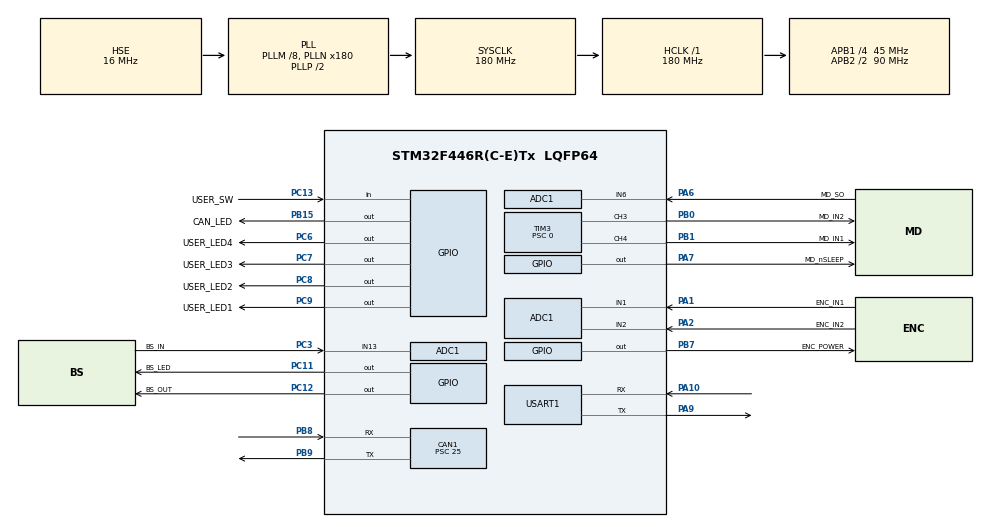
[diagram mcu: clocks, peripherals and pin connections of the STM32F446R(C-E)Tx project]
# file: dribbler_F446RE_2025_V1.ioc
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ADC1.Channel-0\#ChannelRegularConversion=ADC_CHANNEL_1
ADC1.Channel-1\#ChannelRegularConversion=ADC_CHANNEL_2
ADC1.Channel-2\#ChannelRegularConversion=ADC_CHANNEL_6
ADC1.Channel-3\#ChannelRegularConversion=ADC_CHANNEL_13
ADC1.ContinuousConvMode=ENABLE
ADC1.DMAContinuousRequests=ENABLE
ADC1.NbrOfConversion=4
ADC1.NbrOfConversionFlag=1
ADC1.Rank-0\#ChannelRegularConversion=1
ADC1.Rank-1\#ChannelRegularConversion=2
ADC1.Rank-2\#ChannelRegularConversion=3
ADC1.Rank-3\#ChannelRegularConversion=4
ADC1.SamplingTime-0\#ChannelRegularConversion=ADC_SAMPLETIME_112CYCLES
ADC1.SamplingTime-1\#ChannelRegularConversion=ADC_SAMPLETIME_112CYCLES
ADC1.SamplingTime-2\#ChannelRegularConversion=ADC_SAMPLETIME_112CYCLES
ADC1.SamplingTime-3\#ChannelRegularConversion=ADC_SAMPLETIME_112CYCLES
ADC1.ScanConvMode=ENABLE
ADC1.master=1
CAN1.BS1=CAN_BS1_15TQ
CAN1.BS2=CAN_BS2_2TQ
CAN1.CalculateBaudRate=100000
CAN1.CalculateTimeBit=10000
CAN1.CalculateTimeQuantum=555.5555555555555
CAN1.Prescaler=25
CAN1.TTCM=ENABLE
CAN1.TXFP=ENABLE
Dma.ADC1.0.Direction=DMA_PERIPH_TO_MEMORY
Dma.ADC1.0.FIFOMode=DMA_FIFOMODE_DISABLE
Dma.ADC1.0.Instance=DMA2_Stream0
Dma.ADC1.0.MemDataAlignment=DMA_MDATAALIGN_HALFWORD
Dma.ADC1.0.MemInc=DMA_MINC_ENABLE
Dma.ADC1.0.Mode=DMA_CIRCULAR
Dma.ADC1.0.PeriphDataAlignment=DMA_PDATAALIGN_HALFWORD
Dma.ADC1.0.PeriphInc=DMA_PINC_DISABLE
Dma.ADC1.0.Priority=DMA_PRIORITY_LOW
Dma.Request0=ADC1
Mcu.Family=STM32F4
Mcu.Name=STM32F446R(C-E)Tx
Mcu.Package=LQFP64
NVIC.CAN1_RX0_IRQn=true\:0\:0\:false\:false\:true\:true\:true\:true
NVIC.CAN1_RX1_IRQn=true\:0\:0\:false\:false\:true\:true\:true\:true
NVIC.CAN1_TX_IRQn=true\:0\:0\:false\:false\:true\:true\:true\:true
NVIC.DMA2_Stream0_IRQn=true\:0\:0\:false\:false\:true\:false\:true\:true
NVIC.PriorityGroup=NVIC_PRIORITYGROUP_4
NVIC.TIM6_DAC_IRQn=true\:0\:0\:false\:false\:true\:true\:true\:true
NVIC.TIM7_IRQn=true\:0\:0\:false\:false\:true\:true\:true\:true
PA1.GPIO_Label=ENC_IN1
PA1.Signal=ADCx_IN1
PA10.Mode=Asynchronous
PA10.Signal=USART1_RX
PA2.GPIO_Label=ENC_IN2
PA2.Signal=ADCx_IN2
PA6.GPIO_Label=MD_SO
PA6.Signal=ADCx_IN6
PA7.GPIO_Label=MD_nSLEEP
PA7.Signal=GPIO_Output
PA9.Mode=Asynchronous
PA9.Signal=USART1_TX
PB0.GPIO_Label=MD_IN2
PB0.Signal=S_TIM3_CH3
PB1.GPIO_Label=MD_IN1
PB1.Signal=S_TIM3_CH4
PB15.GPIO_Label=CAN_LED
PB15.Signal=GPIO_Output
PB7.GPIO_Label=ENC_POWER
PB7.Signal=GPIO_Output
PB8.Mode=CAN_Activate
PB8.Signal=CAN1_RX
PB9.Mode=CAN_Activate
PB9.Signal=CAN1_TX
PC11.GPIO_Label=BS_LED
PC11.Signal=GPIO_Output
PC12.GPIO_Label=BS_OUT
PC12.Signal=GPIO_Output
PC13.GPIO_Label=USER_SW
PC13.Signal=GPIO_Input
PC3.GPIO_Label=BS_IN
PC3.Signal=ADCx_IN13
PC6.GPIO_Label=USER_LED4
PC6.Signal=GPIO_Output
PC7.GPIO_Label=USER_LED3
PC7.Signal=GPIO_Output
PC8.GPIO_Label=USER_LED2
PC8.Signal=GPIO_Output
PC9.GPIO_Label=USER_LED1
PC9.Signal=GPIO_Output
PH0-OSC_IN.Mode=HSE-External-Oscillator
PH0-OSC_IN.Signal=RCC_OSC_IN
PH1-OSC_OUT.Mode=HSE-External-Oscillator
PH1-OSC_OUT.Signal=RCC_OSC_OUT
ProjectManager.HeapSize=0x200
ProjectManager.StackSize=0x400
ProjectManager.TargetToolchain=Makefile
RCC.AHBFreq_Value=180000000
RCC.APB1CLKDivider=RCC_HCLK_DIV4
RCC.APB1Freq_Value=45000000
RCC.APB1TimFreq_Value=90000000
RCC.APB2CLKDivider=RCC_HCLK_DIV2
RCC.APB2Freq_Value=90000000
RCC.APB2TimFreq_Value=180000000
RCC.CortexFreq_Value=180000000
RCC.HCLKFreq_Value=180000000
RCC.HSE_VALUE=16000000
RCC.PLLM=8
RCC.PLLN=180
RCC.PLLSourceVirtual=RCC_PLLSOURCE_HSE
RCC.SYSCLKFreq_VALUE=180000000
RCC.SYSCLKSource=RCC_SYSCLKSOURCE_PLLCLK
RCC.USBFreq_Value=180000000
RCC.VCOOutputFreq_Value=360000000
SH.ADCx_IN1.0=ADC1_IN1,IN1
SH.ADCx_IN13.0=ADC1_IN13,IN13
SH.ADCx_IN2.0=ADC1_IN2,IN2
SH.ADCx_IN6.0=ADC1_IN6,IN6
SH.S_TIM3_CH3.0=TIM3_CH3,PWM Generation3 CH3
SH.S_TIM3_CH4.0=TIM3_CH4,PWM Generation4 CH4
TIM3.Channel-PWM\ Generation3\ CH3=TIM_CHANNEL_3
TIM3.Channel-PWM\ Generation4\ CH4=TIM_CHANNEL_4
TIM3.OCFastMode_PWM-PWM\ Generation3\ CH3=TIM_OCFAST_ENABLE
TIM3.OCFastMode_PWM-PWM\ Generation4\ CH4=TIM_OCFAST_ENABLE
TIM3.Period=799
TIM3.Prescaler=0
TIM6.AutoReloadPreload=TIM_AUTORELOAD_PRELOAD_ENABLE
TIM6.Period=100-1
TIM6.Prescaler=4500-1
TIM7.AutoReloadPreload=TIM_AUTORELOAD_PRELOAD_ENABLE
TIM7.Period=10-1
TIM7.Prescaler=4500-1
USART1.VirtualMode=VM_ASYNC
VP_TIM3_VS_ClockSourceINT.Mode=Internal
VP_TIM6_VS_ClockSourceINT.Mode=Enable_Timer
VP_TIM7_VS_ClockSourceINT.Mode=Enable_Timer
board=custom

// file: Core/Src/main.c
/* USER CODE BEGIN Header */
/**
  ******************************************************************************
  * @file           : main.c
  * @brief          : Main program body
  ******************************************************************************
  * @attention
  *
  * Copyright (c) 2024 STMicroelectronics.
  * All rights reserved.
  *
  * This software is licensed under terms that can be found in the LICENSE file
  * in the root directory of this software component.
  * If no LICENSE file comes with this software, it is provided AS-IS.
  *
  ******************************************************************************
  */
/* USER CODE END Header */
#include "main.h"
#include "adc.h"
#include "can.h"
#include "dma.h"
#include "tim.h"
#include "usart.h"
#include "gpio.h"

/* USER CODE BEGIN Includes */
#include "stdio.h"
#include "app.hpp"
/* USER CODE END Includes */

void SystemClock_Config(void);

/* USER CODE BEGIN 0 */
int _write(int file,char* ptr,int len){
  HAL_UART_Transmit(&huart1,(uint8_t*)ptr,len,100);
  return len;
}

void HAL_TIM_PeriodElapsedCallback(TIM_HandleTypeDef *htim){
  if (htim == &htim6){
    Interrupt_Processing_f10ms();
  }
  if (htim == &htim7){
    Interrupt_Processing_f1ms();
  }
}

/* USER CODE END 0 */

int main(void)
{

  /* MCU Configuration--------------------------------------------------------*/

  /* Reset of all peripherals, Initializes the Flash interface and the Systick. */
  HAL_Init();

  /* Configure the system clock */
  SystemClock_Config();

  /* Initialize all configured peripherals */
  MX_GPIO_Init();
  MX_DMA_Init();
  MX_TIM3_Init();
  MX_CAN1_Init();
  MX_USART1_UART_Init();
  MX_TIM6_Init();
  MX_TIM7_Init();
  MX_ADC1_Init();
  /* USER CODE BEGIN 2 */
  HAL_TIM_PWM_Start(&htim3, TIM_CHANNEL_3);
  HAL_TIM_PWM_Start(&htim3, TIM_CHANNEL_4);
  HAL_TIM_Base_Start_IT(&htim6);
  HAL_TIM_Base_Start_IT(&htim7);

  Setup();
  /* USER CODE END 2 */

  /* Infinite loop */
  /* USER CODE BEGIN WHILE */
  while (1)
  {
    MainLoop();
    /* USER CODE END WHILE */

  }
}

void SystemClock_Config(void)
{
  RCC_OscInitTypeDef RCC_OscInitStruct = {0};
  RCC_ClkInitTypeDef RCC_ClkInitStruct = {0};

  /** Configure the main internal regulator output voltage
  */
  __HAL_RCC_PWR_CLK_ENABLE();
  __HAL_PWR_VOLTAGESCALING_CONFIG(PWR_REGULATOR_VOLTAGE_SCALE1);

  /** Initializes the RCC Oscillators according to the specified parameters
  * in the RCC_OscInitTypeDef structure.
  */
  RCC_OscInitStruct.OscillatorType = RCC_OSCILLATORTYPE_HSE;
  RCC_OscInitStruct.HSEState = RCC_HSE_ON;
  RCC_OscInitStruct.PLL.PLLState = RCC_PLL_ON;
  RCC_OscInitStruct.PLL.PLLSource = RCC_PLLSOURCE_HSE;
  RCC_OscInitStruct.PLL.PLLM = 8;
  RCC_OscInitStruct.PLL.PLLN = 180;
  RCC_OscInitStruct.PLL.PLLP = RCC_PLLP_DIV2;
  RCC_OscInitStruct.PLL.PLLQ = 2;
  RCC_OscInitStruct.PLL.PLLR = 2;
  if (HAL_RCC_OscConfig(&RCC_OscInitStruct) != HAL_OK)
  {
    Error_Handler();
  }

  /** Activate the Over-Drive mode
  */
  if (HAL_PWREx_EnableOverDrive() != HAL_OK)
  {
    Error_Handler();
  }

  /** Initializes the CPU, AHB and APB buses clocks
  */
  RCC_ClkInitStruct.ClockType = RCC_CLOCKTYPE_HCLK|RCC_CLOCKTYPE_SYSCLK
                              |RCC_CLOCKTYPE_PCLK1|RCC_CLOCKTYPE_PCLK2;
  RCC_ClkInitStruct.SYSCLKSource = RCC_SYSCLKSOURCE_PLLCLK;
  RCC_ClkInitStruct.AHBCLKDivider = RCC_SYSCLK_DIV1;
  RCC_ClkInitStruct.APB1CLKDivider = RCC_HCLK_DIV4;
  RCC_ClkInitStruct.APB2CLKDivider = RCC_HCLK_DIV2;

  if (HAL_RCC_ClockConfig(&RCC_ClkInitStruct, FLASH_LATENCY_5) != HAL_OK)
  {
    Error_Handler();
  }
}

void Error_Handler(void)
{
  __disable_irq();
  while (1)
  {
  }
}
